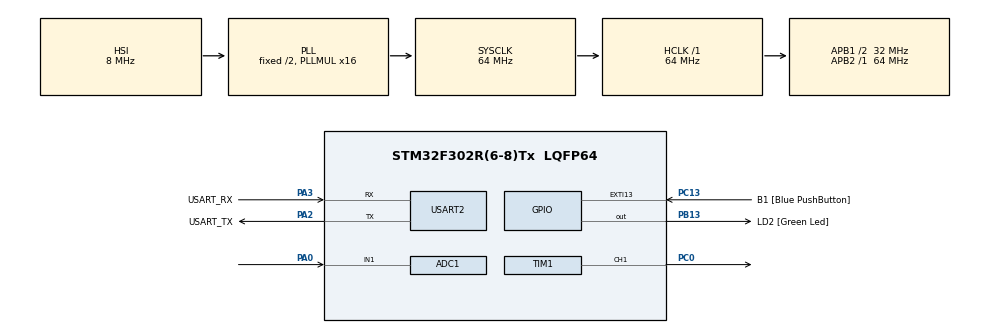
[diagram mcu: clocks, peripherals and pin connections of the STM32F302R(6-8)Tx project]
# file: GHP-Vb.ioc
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ADC1.Channel-0\#ChannelRegularConversion=ADC_CHANNEL_1
ADC1.ContinuousConvMode=ENABLE
ADC1.NbrOfConversionFlag=1
ADC1.Offset-0\#ChannelRegularConversion=0
ADC1.OffsetNumber-0\#ChannelRegularConversion=ADC_OFFSET_NONE
ADC1.Rank-0\#ChannelRegularConversion=1
ADC1.SamplingTime-0\#ChannelRegularConversion=ADC_SAMPLETIME_1CYCLE_5
ADC1.SamplingTimeOPAMP-0\#ChannelRegularConversion=ADC_SAMPLETIME_61CYCLES_5
ADC1.SubFamily=STM32F302x8
ADC1.master=1
Mcu.Family=STM32F3
Mcu.Name=STM32F302R(6-8)Tx
Mcu.Package=LQFP64
NVIC.PriorityGroup=NVIC_PRIORITYGROUP_0
PA0.Mode=IN1-Single-Ended
PA0.Signal=ADC1_IN1
PA13.GPIO_Label=TMS
PA13.Mode=Serial_Wire
PA13.Signal=SYS_JTMS-SWDIO
PA14.GPIO_Label=TCK
PA14.Mode=Serial_Wire
PA14.Signal=SYS_JTCK-SWCLK
PA2.GPIO_Label=USART_TX
PA2.GPIO_Mode=GPIO_MODE_AF_PP
PA2.GPIO_PuPd=GPIO_NOPULL
PA2.GPIO_Speed=GPIO_SPEED_FREQ_LOW
PA2.Mode=Asynchronous
PA2.Signal=USART2_TX
PA3.GPIO_Label=USART_RX
PA3.GPIO_Mode=GPIO_MODE_AF_PP
PA3.GPIO_PuPd=GPIO_NOPULL
PA3.GPIO_Speed=GPIO_SPEED_FREQ_LOW
PA3.Mode=Asynchronous
PA3.Signal=USART2_RX
PB13.GPIO_Label=LD2 [Green Led]
PB13.Signal=GPIO_Output
PB3.GPIO_Label=SWO
PB3.Mode=Trace_Asynchronous_SW
PB3.Signal=SYS_JTDO-TRACESWO
PC0.Signal=S_TIM1_CH1
PC13.GPIO_Label=B1 [Blue PushButton]
PC13.GPIO_ModeDefaultEXTI=GPIO_MODE_IT_FALLING
PC13.Signal=GPXTI13
PC14\ -\ OSC32_IN.Mode=LSE-External-Oscillator
PC14\ -\ OSC32_IN.Signal=RCC_OSC32_IN
PC15\ -\ OSC32_OUT.Mode=LSE-External-Oscillator
PC15\ -\ OSC32_OUT.Signal=RCC_OSC32_OUT
PF0-OSC_IN.Mode=HSE-External-Clock-Source
PF0-OSC_IN.Signal=RCC_OSC_IN
PF1-OSC_OUT.Signal=RCC_OSC_OUT
ProjectManager.HeapSize=0x200
ProjectManager.StackSize=0x400
ProjectManager.TargetToolchain=STM32CubeIDE
RCC.AHBFreq_Value=64000000
RCC.APB1CLKDivider=RCC_HCLK_DIV2
RCC.APB1Freq_Value=32000000
RCC.APB1TimFreq_Value=64000000
RCC.APB2Freq_Value=64000000
RCC.APB2TimFreq_Value=64000000
RCC.CortexFreq_Value=64000000
RCC.HCLKFreq_Value=64000000
RCC.HSE_VALUE=8000000
RCC.HSI_VALUE=8000000
RCC.PLLM=8
RCC.PLLMUL=RCC_PLL_MUL16
RCC.PLLN=336
RCC.PLLP=RCC_PLLP_DIV4
RCC.PLLQ=7
RCC.RCC_PLLsource_Clock_Source_FROM_HSE=RCC_HSE_PREDIV_DIV2
RCC.SYSCLKFreq_VALUE=64000000
RCC.SYSCLKSourceVirtual=RCC_SYSCLKSOURCE_PLLCLK
RCC.USBFreq_Value=64000000
SH.S_TIM1_CH1.0=TIM1_CH1,PWM Generation1 CH1
TIM1.Channel-PWM\ Generation1\ CH1=TIM_CHANNEL_1
TIM1.Period=4095
TIM1.Prescaler=64
TIM1.Pulse-PWM\ Generation1\ CH1=2048
USART2.VirtualMode-Asynchronous=VM_ASYNC
VP_TIM1_VS_ClockSourceINT.Mode=Internal
board=NUCLEO-F302R8

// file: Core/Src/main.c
/* USER CODE BEGIN Header */
/**
  ******************************************************************************
  * @file           : main.c
  * @brief          : Main program body
  ******************************************************************************
  * @attention
  *
  * Copyright (c) 2023 STMicroelectronics.
  * All rights reserved.
  *
  * This software is licensed under terms that can be found in the LICENSE file
  * in the root directory of this software component.
  * If no LICENSE file comes with this software, it is provided AS-IS.
  *
  ******************************************************************************
  */
/* USER CODE END Header */
#include "main.h"

/* USER CODE BEGIN Includes */
#include "moving_avg.h"

/* USER CODE END Includes */

ADC_HandleTypeDef hadc1;

TIM_HandleTypeDef htim1;

UART_HandleTypeDef huart2;

void SystemClock_Config(void);
static void MX_GPIO_Init(void);
static void MX_USART2_UART_Init(void);
static void MX_ADC1_Init(void);
static void MX_TIM1_Init(void);

int main(void)
{

  /* MCU Configuration--------------------------------------------------------*/

  /* Reset of all peripherals, Initializes the Flash interface and the Systick. */
  HAL_Init();

  /* Configure the system clock */
  SystemClock_Config();

  /* Initialize all configured peripherals */
  MX_GPIO_Init();
  MX_USART2_UART_Init();
  MX_ADC1_Init();
  MX_TIM1_Init();
  /* USER CODE BEGIN 2 */

  HAL_ADC_Start(&hadc1);
  uint32_t valueADC;

  MovingAverage ma;
  uint32_t windowSize = 128; // HEADER FILE MAX SIZE MATTERS!

  initializeMovingAverage(&ma, windowSize);

  double movingAvg;

  /* USER CODE END 2 */

  /* Infinite loop */
  /* USER CODE BEGIN WHILE */
  while (1)
  {
	  HAL_TIM_PWM_Start(&htim1, TIM_CHANNEL_1);

	  HAL_ADC_PollForConversion(&hadc1, 1000);
	  valueADC = HAL_ADC_GetValue(&hadc1);

	  movingAvg = calculateMovingAverage(&ma, valueADC);

	  __HAL_TIM_SET_COMPARE(&htim1, TIM_CHANNEL_1, (int) movingAvg);

	  if (movingAvg < 2028) {
		  HAL_GPIO_WritePin(GPIOB, GPIO_PIN_13, GPIO_PIN_RESET);

	  } else {
		  HAL_GPIO_WritePin(GPIOB, GPIO_PIN_13, GPIO_PIN_SET);

	  }
    /* USER CODE END WHILE */

  }
}

void SystemClock_Config(void)
{
  RCC_OscInitTypeDef RCC_OscInitStruct = {0};
  RCC_ClkInitTypeDef RCC_ClkInitStruct = {0};
  RCC_PeriphCLKInitTypeDef PeriphClkInit = {0};

  /** Initializes the RCC Oscillators according to the specified parameters
  * in the RCC_OscInitTypeDef structure.
  */
  RCC_OscInitStruct.OscillatorType = RCC_OSCILLATORTYPE_HSI;
  RCC_OscInitStruct.HSIState = RCC_HSI_ON;
  RCC_OscInitStruct.HSICalibrationValue = RCC_HSICALIBRATION_DEFAULT;
  RCC_OscInitStruct.PLL.PLLState = RCC_PLL_ON;
  RCC_OscInitStruct.PLL.PLLSource = RCC_PLLSOURCE_HSI;
  RCC_OscInitStruct.PLL.PLLMUL = RCC_PLL_MUL16;
  if (HAL_RCC_OscConfig(&RCC_OscInitStruct) != HAL_OK)
  {
    Error_Handler();
  }

  /** Initializes the CPU, AHB and APB buses clocks
  */
  RCC_ClkInitStruct.ClockType = RCC_CLOCKTYPE_HCLK|RCC_CLOCKTYPE_SYSCLK
                              |RCC_CLOCKTYPE_PCLK1|RCC_CLOCKTYPE_PCLK2;
  RCC_ClkInitStruct.SYSCLKSource = RCC_SYSCLKSOURCE_PLLCLK;
  RCC_ClkInitStruct.AHBCLKDivider = RCC_SYSCLK_DIV1;
  RCC_ClkInitStruct.APB1CLKDivider = RCC_HCLK_DIV2;
  RCC_ClkInitStruct.APB2CLKDivider = RCC_HCLK_DIV1;

  if (HAL_RCC_ClockConfig(&RCC_ClkInitStruct, FLASH_LATENCY_2) != HAL_OK)
  {
    Error_Handler();
  }
  PeriphClkInit.PeriphClockSelection = RCC_PERIPHCLK_TIM1|RCC_PERIPHCLK_ADC1;
  PeriphClkInit.Tim1ClockSelection = RCC_TIM1CLK_HCLK;
  PeriphClkInit.Adc1ClockSelection = RCC_ADC1PLLCLK_DIV1;

  if (HAL_RCCEx_PeriphCLKConfig(&PeriphClkInit) != HAL_OK)
  {
    Error_Handler();
  }
}

static void MX_ADC1_Init(void)
{

  ADC_ChannelConfTypeDef sConfig = {0};

  /** Common config
  */
  hadc1.Instance = ADC1;
  hadc1.Init.ClockPrescaler = ADC_CLOCK_ASYNC_DIV1;
  hadc1.Init.Resolution = ADC_RESOLUTION_12B;
  hadc1.Init.ScanConvMode = ADC_SCAN_DISABLE;
  hadc1.Init.ContinuousConvMode = ENABLE;
  hadc1.Init.DiscontinuousConvMode = DISABLE;
  hadc1.Init.ExternalTrigConvEdge = ADC_EXTERNALTRIGCONVEDGE_NONE;
  hadc1.Init.ExternalTrigConv = ADC_SOFTWARE_START;
  hadc1.Init.DataAlign = ADC_DATAALIGN_RIGHT;
  hadc1.Init.NbrOfConversion = 1;
  hadc1.Init.DMAContinuousRequests = DISABLE;
  hadc1.Init.EOCSelection = ADC_EOC_SINGLE_CONV;
  hadc1.Init.LowPowerAutoWait = DISABLE;
  hadc1.Init.Overrun = ADC_OVR_DATA_OVERWRITTEN;
  if (HAL_ADC_Init(&hadc1) != HAL_OK)
  {
    Error_Handler();
  }

  /** Configure Regular Channel
  */
  sConfig.Channel = ADC_CHANNEL_1;
  sConfig.Rank = ADC_REGULAR_RANK_1;
  sConfig.SingleDiff = ADC_SINGLE_ENDED;
  sConfig.SamplingTime = ADC_SAMPLETIME_1CYCLE_5;
  sConfig.OffsetNumber = ADC_OFFSET_NONE;
  sConfig.Offset = 0;
  if (HAL_ADC_ConfigChannel(&hadc1, &sConfig) != HAL_OK)
  {
    Error_Handler();
  }

}

static void MX_TIM1_Init(void)
{

  TIM_ClockConfigTypeDef sClockSourceConfig = {0};
  TIM_MasterConfigTypeDef sMasterConfig = {0};
  TIM_OC_InitTypeDef sConfigOC = {0};
  TIM_BreakDeadTimeConfigTypeDef sBreakDeadTimeConfig = {0};

  htim1.Instance = TIM1;
  htim1.Init.Prescaler = 64;
  htim1.Init.CounterMode = TIM_COUNTERMODE_UP;
  htim1.Init.Period = 64000;
  htim1.Init.ClockDivision = TIM_CLOCKDIVISION_DIV1;
  htim1.Init.RepetitionCounter = 0;
  htim1.Init.AutoReloadPreload = TIM_AUTORELOAD_PRELOAD_DISABLE;
  if (HAL_TIM_Base_Init(&htim1) != HAL_OK)
  {
    Error_Handler();
  }
  sClockSourceConfig.ClockSource = TIM_CLOCKSOURCE_INTERNAL;
  if (HAL_TIM_ConfigClockSource(&htim1, &sClockSourceConfig) != HAL_OK)
  {
    Error_Handler();
  }
  if (HAL_TIM_PWM_Init(&htim1) != HAL_OK)
  {
    Error_Handler();
  }
  sMasterConfig.MasterOutputTrigger = TIM_TRGO_RESET;
  sMasterConfig.MasterOutputTrigger2 = TIM_TRGO2_RESET;
  sMasterConfig.MasterSlaveMode = TIM_MASTERSLAVEMODE_DISABLE;
  if (HAL_TIMEx_MasterConfigSynchronization(&htim1, &sMasterConfig) != HAL_OK)
  {
    Error_Handler();
  }
  sConfigOC.OCMode = TIM_OCMODE_PWM1;
  sConfigOC.Pulse = 2048;
  sConfigOC.OCPolarity = TIM_OCPOLARITY_HIGH;
  sConfigOC.OCNPolarity = TIM_OCNPOLARITY_HIGH;
  sConfigOC.OCFastMode = TIM_OCFAST_DISABLE;
  sConfigOC.OCIdleState = TIM_OCIDLESTATE_RESET;
  sConfigOC.OCNIdleState = TIM_OCNIDLESTATE_RESET;
  if (HAL_TIM_PWM_ConfigChannel(&htim1, &sConfigOC, TIM_CHANNEL_1) != HAL_OK)
  {
    Error_Handler();
  }
  sBreakDeadTimeConfig.OffStateRunMode = TIM_OSSR_DISABLE;
  sBreakDeadTimeConfig.OffStateIDLEMode = TIM_OSSI_DISABLE;
  sBreakDeadTimeConfig.LockLevel = TIM_LOCKLEVEL_OFF;
  sBreakDeadTimeConfig.DeadTime = 0;
  sBreakDeadTimeConfig.BreakState = TIM_BREAK_DISABLE;
  sBreakDeadTimeConfig.BreakPolarity = TIM_BREAKPOLARITY_HIGH;
  sBreakDeadTimeConfig.BreakFilter = 0;
  sBreakDeadTimeConfig.Break2State = TIM_BREAK2_DISABLE;
  sBreakDeadTimeConfig.Break2Polarity = TIM_BREAK2POLARITY_HIGH;
  sBreakDeadTimeConfig.Break2Filter = 0;
  sBreakDeadTimeConfig.AutomaticOutput = TIM_AUTOMATICOUTPUT_DISABLE;
  if (HAL_TIMEx_ConfigBreakDeadTime(&htim1, &sBreakDeadTimeConfig) != HAL_OK)
  {
    Error_Handler();
  }
  HAL_TIM_MspPostInit(&htim1);

}

static void MX_USART2_UART_Init(void)
{

  huart2.Instance = USART2;
  huart2.Init.BaudRate = 38400;
  huart2.Init.WordLength = UART_WORDLENGTH_8B;
  huart2.Init.StopBits = UART_STOPBITS_1;
  huart2.Init.Parity = UART_PARITY_NONE;
  huart2.Init.Mode = UART_MODE_TX_RX;
  huart2.Init.HwFlowCtl = UART_HWCONTROL_NONE;
  huart2.Init.OverSampling = UART_OVERSAMPLING_16;
  huart2.Init.OneBitSampling = UART_ONE_BIT_SAMPLE_DISABLE;
  huart2.AdvancedInit.AdvFeatureInit = UART_ADVFEATURE_NO_INIT;
  if (HAL_UART_Init(&huart2) != HAL_OK)
  {
    Error_Handler();
  }

}

static void MX_GPIO_Init(void)
{
  GPIO_InitTypeDef GPIO_InitStruct = {0};

  /* GPIO Ports Clock Enable */
  __HAL_RCC_GPIOC_CLK_ENABLE();
  __HAL_RCC_GPIOF_CLK_ENABLE();
  __HAL_RCC_GPIOA_CLK_ENABLE();
  __HAL_RCC_GPIOB_CLK_ENABLE();

  /*Configure GPIO pin Output Level */
  HAL_GPIO_WritePin(LD2_GPIO_Port, LD2_Pin, GPIO_PIN_RESET);

  /*Configure GPIO pin : B1_Pin */
  GPIO_InitStruct.Pin = B1_Pin;
  GPIO_InitStruct.Mode = GPIO_MODE_IT_FALLING;
  GPIO_InitStruct.Pull = GPIO_NOPULL;
  HAL_GPIO_Init(B1_GPIO_Port, &GPIO_InitStruct);

  /*Configure GPIO pin : LD2_Pin */
  GPIO_InitStruct.Pin = LD2_Pin;
  GPIO_InitStruct.Mode = GPIO_MODE_OUTPUT_PP;
  GPIO_InitStruct.Pull = GPIO_NOPULL;
  GPIO_InitStruct.Speed = GPIO_SPEED_FREQ_LOW;
  HAL_GPIO_Init(LD2_GPIO_Port, &GPIO_InitStruct);

}

void Error_Handler(void)
{
  __disable_irq();
  while (1)
  {
  }
}
